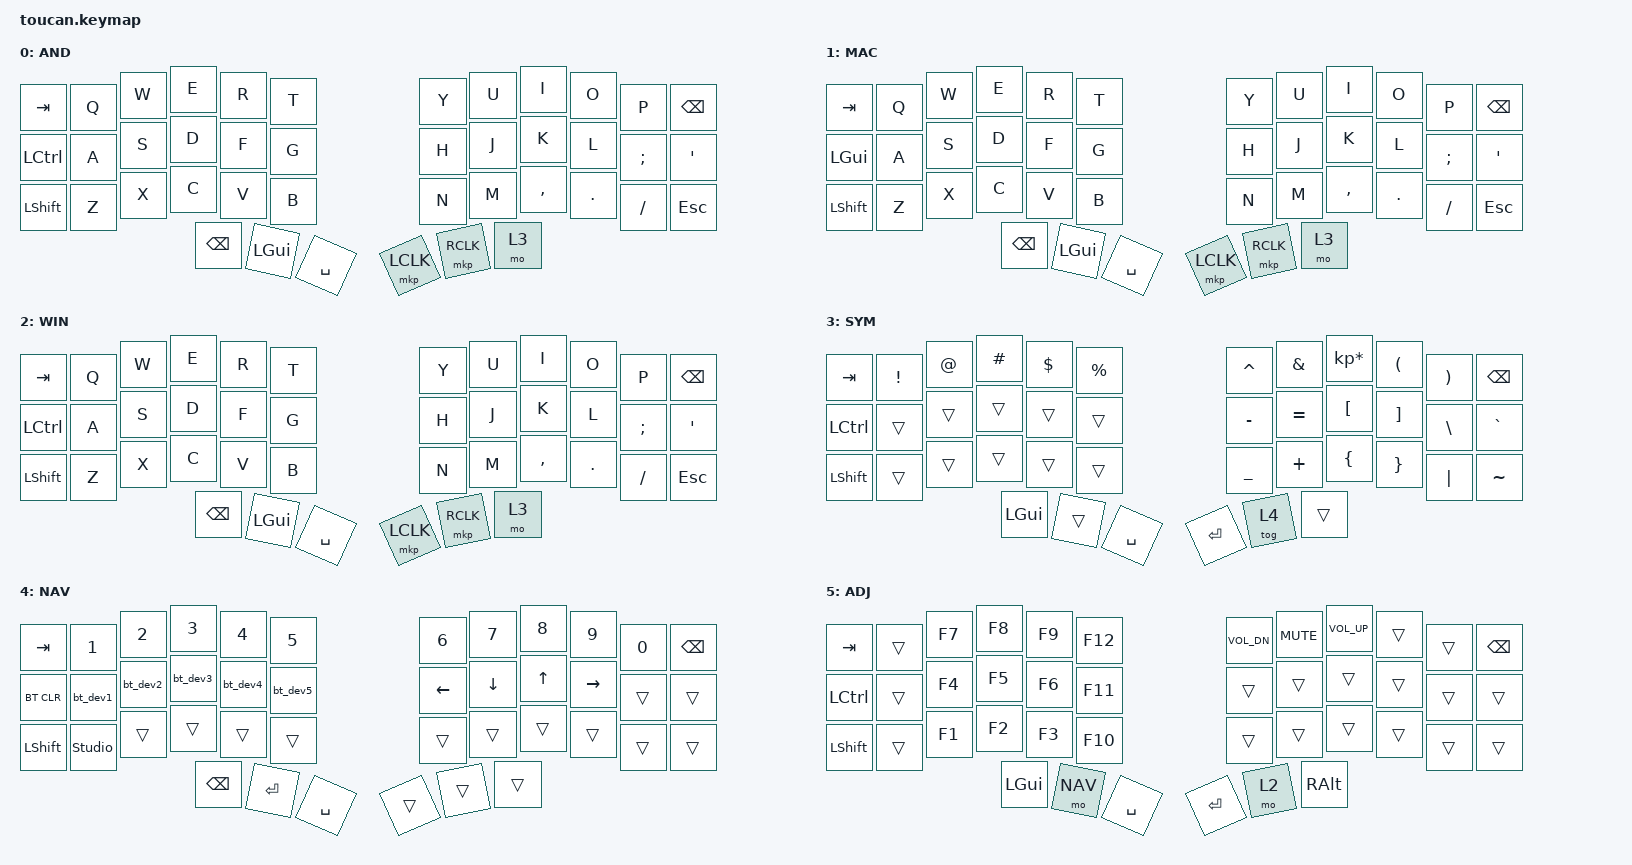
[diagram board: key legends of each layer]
#include <behaviors.dtsi>
#include <dt-bindings/zmk/keys.h>
#include <dt-bindings/zmk/bt.h>
#include <dt-bindings/zmk/outputs.h>
#include <dt-bindings/zmk/mouse.h>

#define AND 0
#define MAC 1
#define WIN 2
#define SYM 3
#define NAV 4
#define ADJ 5

/ {
    macros {
        bt_dev1: bt_dev1 {
            // Galaxy Z Fold6 -> Android
            label = "BT_DEV1";
            compatible = "zmk,behavior-macro";
            #binding-cells = <0>;
            bindings = <&macro_release &mo AND>, <&macro_tap &out OUT_BLE &bt BT_SEL 0 &to AND>;
        };
        bt_dev2: bt_dev2 {
            // iPad mini6 -> Mac系
            label = "BT_DEV2";
            compatible = "zmk,behavior-macro";
            #binding-cells = <0>;
            bindings = <&macro_release &mo MAC>, <&macro_tap &out OUT_BLE &bt BT_SEL 1 &to MAC>;
        };
        bt_dev3: bt_dev3 {
            // 空き(Windows扱い) -> WIN
            label = "BT_DEV3";
            compatible = "zmk,behavior-macro";
            #binding-cells = <0>;
            bindings = <&macro_release &mo WIN>, <&macro_tap &out OUT_BLE &bt BT_SEL 2 &to WIN>;
        };
        bt_dev4: bt_dev4 {
            // M2 MacBook Air -> Mac系
            label = "BT_DEV4";
            compatible = "zmk,behavior-macro";
            #binding-cells = <0>;
            bindings = <&macro_release &mo MAC>, <&macro_tap &out OUT_BLE &bt BT_SEL 3 &to MAC>;
        };
        bt_dev5: bt_dev5 {
            // Windows PC -> WIN
            label = "BT_DEV5";
            compatible = "zmk,behavior-macro";
            #binding-cells = <0>;
            bindings = <&macro_release &mo WIN>, <&macro_tap &out OUT_BLE &bt BT_SEL 4 &to WIN>;
        };
    };

    keymap {
        compatible = "zmk,keymap";

        base {
            display-name = "AND";
            bindings = <
                &kp TAB   &kp Q &kp W &kp E &kp R &kp T   &kp Y &kp U  &kp I     &kp O   &kp P    &kp BSPC
                &kp LCTRL &kp A &kp S &kp D &kp F &kp G   &kp H &kp J  &kp K     &kp L   &kp SEMI &kp SQT
                &kp LSHFT &kp Z &kp X &kp C &kp V &kp B   &kp N &kp M  &kp COMMA &kp DOT &kp FSLH &kp ESC
                                &kp BSPC &kp LGUI &kp SPACE   &mkp LCLK &mkp RCLK &mo 3
            >;
        };

        mac {
            display-name = "MAC";
            bindings = <
                &kp TAB   &kp Q &kp W &kp E &kp R &kp T   &kp Y &kp U  &kp I     &kp O   &kp P    &kp BSPC
                &kp LGUI  &kp A &kp S &kp D &kp F &kp G   &kp H &kp J  &kp K     &kp L   &kp SEMI &kp SQT
                &kp LSHFT &kp Z &kp X &kp C &kp V &kp B   &kp N &kp M  &kp COMMA &kp DOT &kp FSLH &kp ESC
                                &kp BSPC &kp LGUI &kp SPACE   &mkp LCLK &mkp RCLK &mo 3
            >;
        };

        win {
            display-name = "WIN";
            bindings = <
                &kp TAB   &kp Q &kp W &kp E &kp R &kp T   &kp Y &kp U  &kp I     &kp O   &kp P    &kp BSPC
                &kp LCTRL &kp A &kp S &kp D &kp F &kp G   &kp H &kp J  &kp K     &kp L   &kp SEMI &kp SQT
                &kp LSHFT &kp Z &kp X &kp C &kp V &kp B   &kp N &kp M  &kp COMMA &kp DOT &kp FSLH &kp ESC
                                &kp BSPC &kp LGUI &kp SPACE   &mkp LCLK &mkp RCLK &mo 3
            >;
        };

        sym {
            display-name = "SYM";
            bindings = <
                &kp TAB   &kp EXCL &kp AT &kp HASH &kp DLLR &kp PRCNT   &kp CARET &kp AMPS  &kp KP_MULTIPLY &kp LPAR &kp RPAR &kp BSPC
                &kp LCTRL &trans   &trans &trans   &trans   &trans      &kp MINUS &kp EQUAL &kp LBKT        &kp RBKT &kp BSLH &kp GRAVE
                &kp LSHFT &trans   &trans &trans   &trans   &trans      &kp UNDER &kp PLUS  &kp LBRC        &kp RBRC &kp PIPE &kp TILDE
                                          &kp LGUI &trans   &kp SPACE   &kp RET   &tog 4    &trans
            >;
        };

        nav {
            display-name = "NAV";
            bindings = <
                &kp TAB     &kp N1         &kp N2   &kp N3   &kp N4   &kp N5      &kp N6   &kp N7   &kp N8 &kp N9    &kp N0 &kp BSPC
                &bt BT_CLR  &bt_dev1       &bt_dev2 &bt_dev3 &bt_dev4 &bt_dev5    &kp LEFT &kp DOWN &kp UP &kp RIGHT &trans &trans
                &kp LSHFT   &studio_unlock &trans   &trans   &trans   &trans      &trans   &trans   &trans &trans    &trans &trans
                                              &kp BSPC &kp RET &kp SPACE          &trans   &trans   &trans   
            >;
        };

        adj {
            display-name = "ADJ";
            bindings = <
                &kp TAB   &trans &kp F7 &kp F8 &kp F9 &kp F12   &kp C_VOL_DN &kp C_MUTE  &kp C_VOL_UP &trans &trans &kp BSPC
                &kp LCTRL &trans &kp F4 &kp F5 &kp F6 &kp F11   &trans       &trans      &trans       &trans &trans &trans
                &kp LSHFT &trans &kp F1 &kp F2 &kp F3 &kp F10   &trans       &trans      &trans       &trans &trans &trans
                                   &kp LGUI &mo NAV &kp SPACE   &kp RET &mo 2 &kp RALT
            >;
        };

        extra_3 {
                status = "reserved";
        };
    };
};
